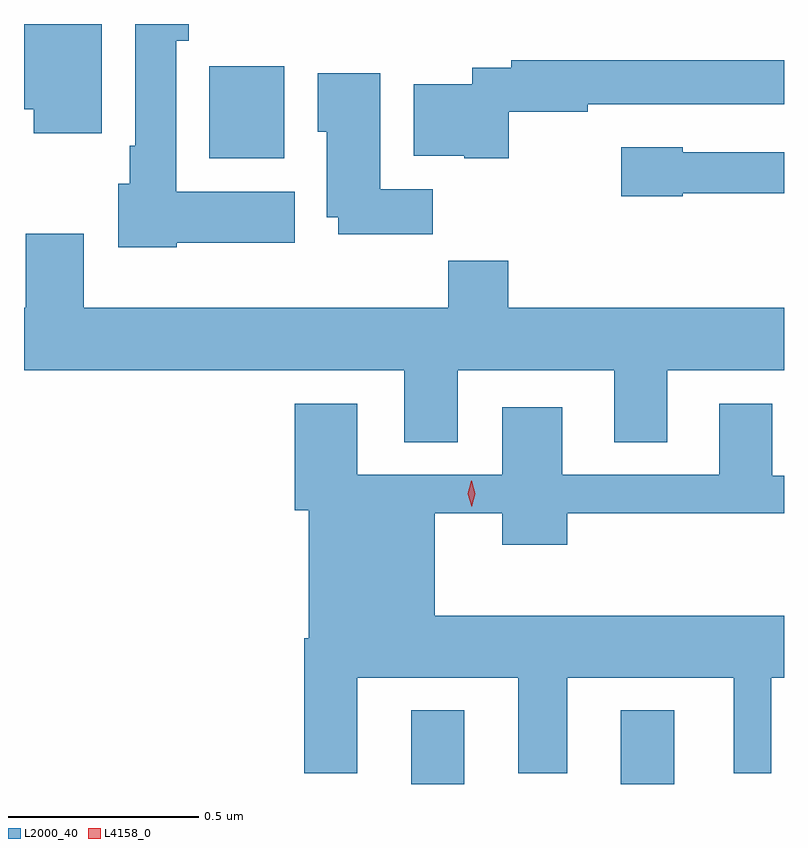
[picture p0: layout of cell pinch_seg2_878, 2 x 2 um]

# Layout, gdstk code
import gdstk
lib = gdstk.Library(unit=1e-6, precision=1e-09)
def R(c, l, rs):  # rectangles x0, y0, x1, y1
    for r in rs: c.add(gdstk.rectangle(r[:2], r[2:], *l))
def P(c, l, *ps):  # polygons
    for p in ps: c.add(gdstk.Polygon(p, *l))
L2000_40 = (2000, 40)
L4158_0 = (4158, 0)

pinch_seg2_878 = lib.new_cell('pinch_seg2_878')
R(pinch_seg2_878, L2000_40, [(530.861,591.935,531.001,592.129), (531.413,591.935,531.553,592.129), (530.33,593.582,530.527,593.824)])
P(pinch_seg2_878, L2000_40, [(530.244,593.36),(530.554,593.36),(530.554,593.494),(530.242,593.494),(530.242,593.891),(530.275,593.891),(530.275,593.935),(530.135,593.935),(530.135,593.614),(530.12,593.614),(530.12,593.514),(530.09,593.514),(530.09,593.348),(530.244,593.348)],
  [(530.047,593.935),(529.842,593.935),(529.842,593.711),(529.868,593.711),(529.868,593.648),(530.047,593.648)],
  [(531.117,593.704),(531.326,593.704),(531.326,593.724),(531.842,593.724),(531.842,593.84),(531.124,593.84),(531.124,593.82),(531.021,593.82),(531.021,593.776),(530.867,593.776),(530.867,593.588),(531,593.588),(531,593.582),(531.117,593.582)],
  [(530.918,593.5),(530.779,593.5),(530.779,593.806),(530.615,593.806),(530.615,593.652),(530.639,593.652),(530.639,593.426),(530.669,593.426),(530.669,593.382),(530.918,593.382)],
  [(531.576,593.49),(531.842,593.49),(531.842,593.598),(531.576,593.598),(531.576,593.611),(531.414,593.611),(531.414,593.482),(531.576,593.482)],
  [(530.983,593.024),(531.395,593.024),(531.395,592.834),(531.535,592.834),(531.535,593.024),(531.842,593.024),(531.842,593.188),(531.116,593.188),(531.116,593.312),(530.959,593.312),(530.959,593.188),(529.999,593.188),(529.999,593.383),(529.847,593.383),(529.847,593.188),(529.842,593.188),(529.842,593.024),(530.843,593.024),(530.843,592.834),(530.983,592.834)],
  [(530.719,592.214),(531.143,592.214),(531.143,591.963),(531.271,591.963),(531.271,592.214),(531.71,592.214),(531.71,591.963),(531.808,591.963),(531.808,592.214),(531.842,592.214),(531.842,592.378),(530.923,592.378),(530.923,592.648),(531.101,592.648),(531.101,592.565),(531.272,592.565),(531.272,592.648),(531.842,592.648),(531.842,592.746),(531.811,592.746),(531.811,592.936),(531.671,592.936),(531.671,592.749),(531.259,592.749),(531.259,592.927),(531.101,592.927),(531.101,592.749),(530.719,592.749),(530.719,592.936),(530.555,592.936),(530.555,592.656),(530.591,592.656),(530.591,592.318),(530.579,592.318),(530.579,591.963),(530.719,591.963)])
P(pinch_seg2_878, L4158_0, [(531.02,592.665),(531.02,592.665),(531.01,592.699),(531.019,592.733),(531.019,592.733),(531.02,592.733),(531.03,592.699),(531.02,592.665)])

lib.write_gds('pinch_seg2_878.gds')
